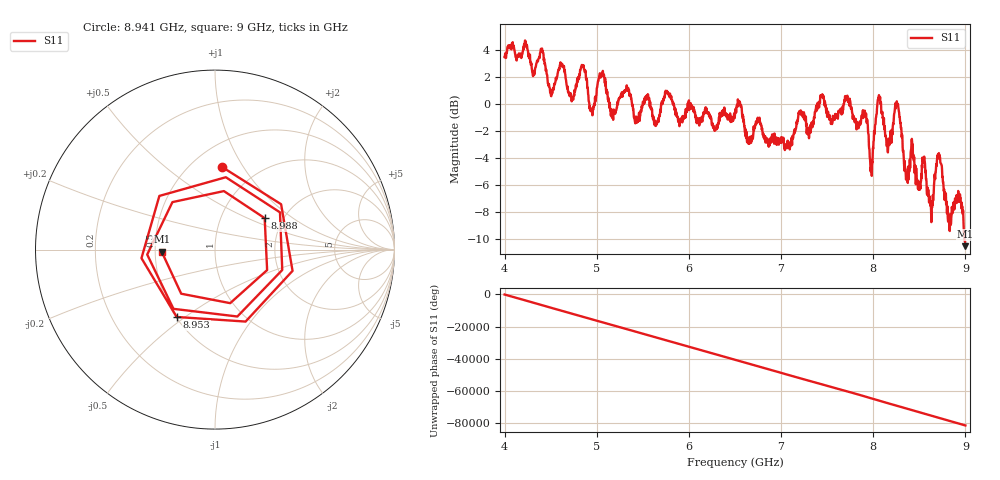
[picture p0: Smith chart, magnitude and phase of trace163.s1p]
! Created with skrf 1.8.0 (http://scikit-rf.org).
# Hz S RI R 50.0
!freq ReS11 ImS11
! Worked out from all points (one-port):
!   1601 points, 4 GHz to 9 GHz, reference 50 ohm
!   lowest |S11| = -10.5 dB at 9 GHz (marker M1), VSWR 1.85, Z = 27.1 - j0.706 ohm
!   |S11| at or under -10 dB: 8.990173 GHz to end of sweep
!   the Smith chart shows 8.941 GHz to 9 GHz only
!   S11 on the Smith chart (normalised r, x): 8.941 GHz: 0.69, +0.81; 8.953 GHz: 0.50, -0.47; 8.988 GHz: 1.61, +0.63; 9 GHz: 0.54, -0.01
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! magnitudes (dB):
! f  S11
! 4 GHz  3.4
! 4.406 GHz  4.1
! 4.509 GHz  1.0
! 4.625 GHz  2.9
! 4.731 GHz  0.4
! 4.853 GHz  2.7
! 4.944 GHz  -0.5
! 5.053 GHz  2.2
! 5.169 GHz  -0.9
! 5.25 GHz  0.5
! 5.875 GHz  -0.9
! 6.5 GHz  -0.8
! 7.125 GHz  -2.6
! 7.75 GHz  0.2
! 7.916 GHz  -0.9
! 7.978 GHz  -5.0
! 8.059 GHz  0.4
! 8.159 GHz  -3.6
! 8.259 GHz  -0.2
! 8.375 GHz  -5.9
! 8.553 GHz  -3.9
! 8.628 GHz  -8.0
! 8.716 GHz  -4.0
! 8.825 GHz  -9.0
! 8.941 GHz  -6.7
! 8.953 GHz  -7.3
! 8.988 GHz  -9.7
! 9 GHz  -10.5
